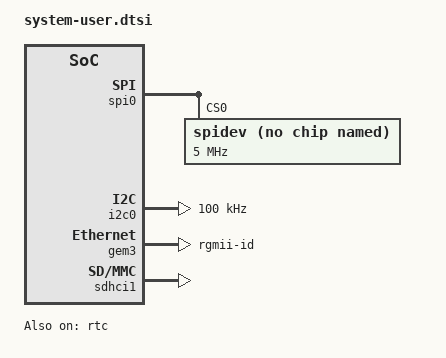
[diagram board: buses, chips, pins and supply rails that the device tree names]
#include "htg-zrf8.dtsi"
/include/ "system-conf.dtsi"

/ {

	aliases {
		gpio0 = &gpio;
		mmc0 = &sdhci1;
		rtc0 = &rtc;
		usb0 = &usb0;
	};

    fclk1 {
        status = "disabled";
    };
    fclk2 {
        status = "disabled";
    };
    fclk3 {
        status = "disabled";
    };

    chosen {
        /*bootargs = "console=ttyPS0,115200n8 earlycon clk_ignore_unused cpuidle.off=1";*/
        bootargs = "console=ttyPS0,115200n8 earlycon cpuidle.off=1";
    };
};

/* Enable the Full-Power Domain's watchdog. This watchdog is kicked from the */
/* cerebro-server-watchdog shell script                                      */
&watchdog0 {
    status = "disabled";
    timeout-sec = <90>;
    reset-on-timeout;
};

&lpd_watchdog {
    status = "disabled";
    timeout-sec = <90>;
};

&spi0 {
    //is-decoded-cs = <0>
    //num-cs = <1>;
    status = "okay";
    spidev@0 {
        compatible = "rohm,dh2228fv"; /*same as spidev but with less complaining */
        spi-max-frequency = <5000000>;
        reg = <0>;
        };
};

&i2c0 {
    status = "okay";
    clock-frequency = <100000>;
};

&gem3 {
    status = "okay";
    phy-mode = "rgmii-id";
};

&rtc {
	status = "okay";
};

/* SD1 with level shifter */
&sdhci1 {
    status = "okay";
};

/* ULPI SMSC USB3320 */
/*&usb0 {
    status = "okay";
    pinctrl-names = "default";
    pinctrl-0 = <&pinctrl_usb0_default>;
};*/

&cpu_opp_table {
	opp00 {
		opp-hz = /bits/ 64 <1333333320>;
	};
};
